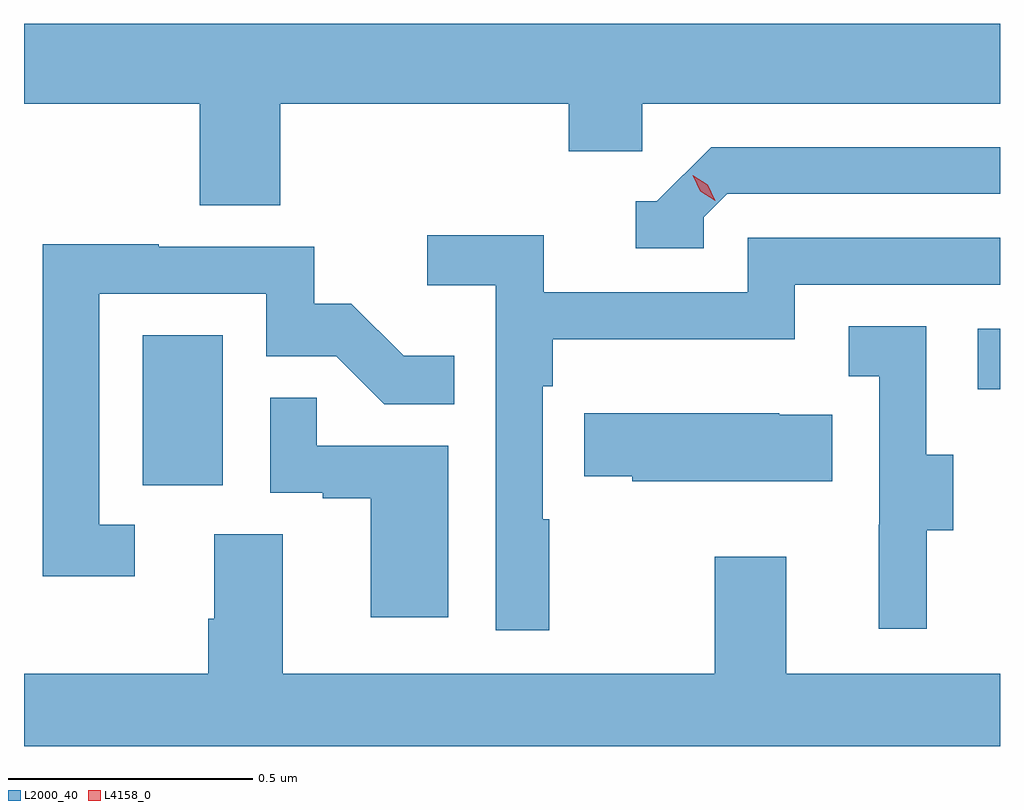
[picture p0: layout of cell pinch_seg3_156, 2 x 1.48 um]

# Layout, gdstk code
import gdstk
lib = gdstk.Library(unit=1e-6, precision=1e-09)
def R(c, l, rs):  # rectangles x0, y0, x1, y1
    for r in rs: c.add(gdstk.rectangle(r[:2], r[2:], *l))
def P(c, l, *ps):  # polygons
    for p in ps: c.add(gdstk.Polygon(p, *l))
L2000_40 = (2000, 40)
L4158_0 = (4158, 0)

pinch_seg3_156 = lib.new_cell('pinch_seg3_156')
R(pinch_seg3_156, L2000_40, [(1102.16,721.446,1102.324,721.753), (1103.871,721.643,1103.917,721.767)])
P(pinch_seg3_156, L2000_40, [(1101.917,722.228),(1102.277,722.228),(1102.277,722.02),(1102.442,722.02),(1102.442,722.228),(1103.033,722.228),(1103.033,722.13),(1103.184,722.13),(1103.184,722.228),(1103.917,722.228),(1103.917,722.392),(1101.917,722.392)],
  [(1103.31,721.995),(1103.358,722.043),(1103.917,722.043),(1103.917,722.139),(1103.325,722.139),(1103.214,722.028),(1103.171,722.028),(1103.171,721.932),(1103.31,721.932)],
  [(1102.993,721.376),(1102.98,721.376),(1102.98,721.649),(1103,721.649),(1103,721.745),(1103.496,721.745),(1103.496,721.857),(1103.917,721.857),(1103.917,721.953),(1103.4,721.953),(1103.4,721.842),(1102.982,721.842),(1102.982,721.958),(1102.743,721.958),(1102.743,721.856),(1102.884,721.856),(1102.884,721.149),(1102.993,721.149)],
  [(1102.144,721.365),(1102.071,721.365),(1102.071,721.839),(1102.413,721.839),(1102.413,721.71),(1102.557,721.71),(1102.655,721.612),(1102.799,721.612),(1102.799,721.711),(1102.695,721.711),(1102.588,721.818),(1102.512,721.818),(1102.512,721.935),(1102.193,721.935),(1102.193,721.94),(1101.955,721.94),(1101.955,721.26),(1102.144,721.26)],
  [(1103.767,721.354),(1103.821,721.354),(1103.821,721.509),(1103.766,721.509),(1103.766,721.772),(1103.607,721.772),(1103.607,721.669),(1103.67,721.669),(1103.67,721.365),(1103.669,721.365),(1103.669,721.152),(1103.767,721.152)],
  [(1102.786,721.527),(1102.517,721.527),(1102.517,721.625),(1102.422,721.625),(1102.422,721.431),(1102.529,721.431),(1102.529,721.419),(1102.628,721.419),(1102.628,721.176),(1102.786,721.176)],
  [(1103.573,721.591),(1103.465,721.591),(1103.465,721.594),(1103.065,721.594),(1103.065,721.465),(1103.163,721.465),(1103.163,721.454),(1103.573,721.454)],
  [(1103.917,721.06),(1103.479,721.06),(1103.479,721.3),(1103.332,721.3),(1103.332,721.06),(1102.447,721.06),(1102.447,721.346),(1102.307,721.346),(1102.307,721.172),(1102.295,721.172),(1102.295,721.06),(1101.917,721.06),(1101.917,720.911),(1103.917,720.911)])
P(pinch_seg3_156, L4158_0, [(1103.334,722.029),(1103.303,722.049),(1103.287,722.081),(1103.287,722.081),(1103.287,722.081),(1103.318,722.062),(1103.334,722.029),(1103.334,722.029)])

lib.write_gds('pinch_seg3_156.gds')
